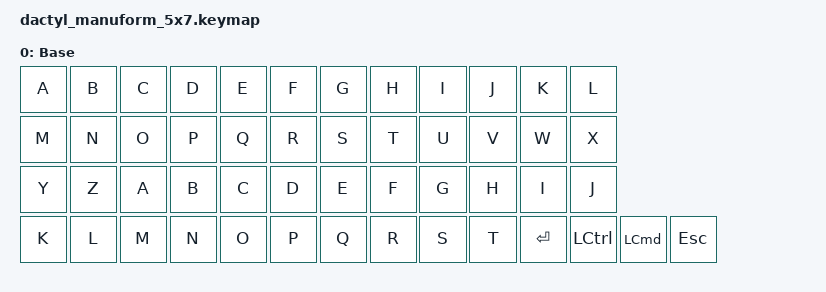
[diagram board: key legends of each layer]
#include <behaviors.dtsi>
#include <dt-bindings/zmk/keys.h>
#include <dt-bindings/zmk/mouse.h>
#include <dt-bindings/zmk/bt.h>
#include <dt-bindings/zmk/ext_power.h>
#include <dt-bindings/zmk/outputs.h>

#include "mouse.dtsi"

#define DEFAULT 0

/ {
    keymap {
        compatible = "zmk,keymap";

        default_layer {
            display-name = "Base";
            bindings = <
                &kp A &kp B &kp C &kp D &kp E &kp F &kp G &kp H &kp I &kp J &kp K &kp L
                &kp M &kp N &kp O &kp P &kp Q &kp R &kp S &kp T &kp U &kp V &kp W &kp X
                &kp Y &kp Z &kp A &kp B &kp C &kp D &kp E &kp F &kp G &kp H &kp I &kp J
                &kp K &kp L &kp M &kp N &kp O &kp P &kp Q &kp R &kp S &kp T                                                                             &kp ENTER     &kp LCTL             &kp LCMD  &kp ESCAPE
            >;
        };
    };
};
